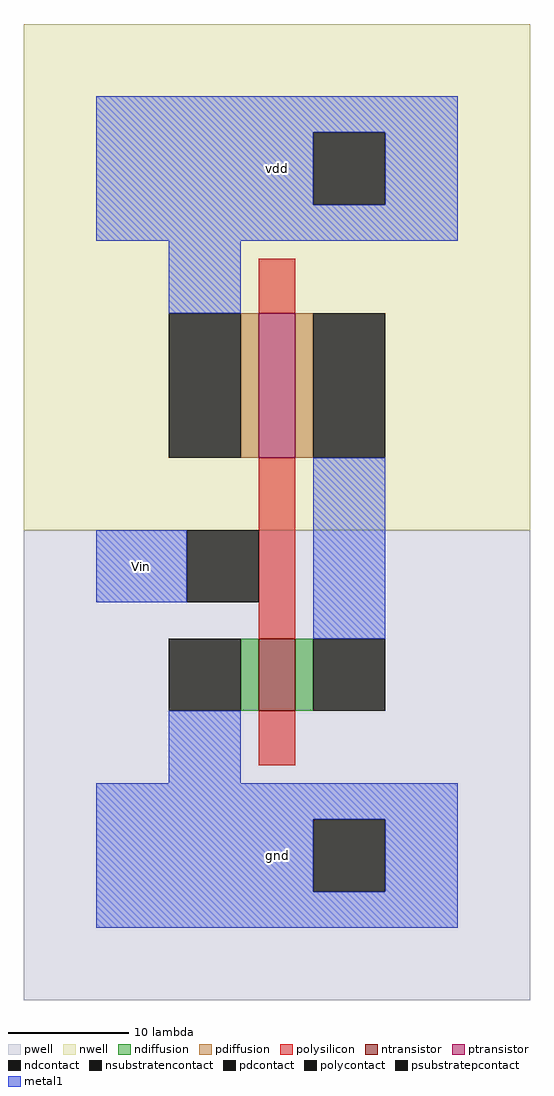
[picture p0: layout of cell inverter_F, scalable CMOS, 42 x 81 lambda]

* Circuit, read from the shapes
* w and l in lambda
.subckt inverter_F Vin gnd vdd
M1 n1 Vin gnd gnd nfet w=6 l=3
M2 n1 Vin vdd vdd pfet w=12 l=3
.ends

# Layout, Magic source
magic
tech scmos
magscale 1 2
<< nwell >>
rect -26 1 58 85
<< pwell >>
rect -26 -77 58 1
<< ntransistor >>
rect 13 -29 19 -17
<< ptransistor >>
rect 13 13 19 37
<< ndiffusion >>
rect 10 -29 13 -17
rect 19 -29 22 -17
<< pdiffusion >>
rect 10 13 13 37
rect 19 13 22 37
<< ndcontact >>
rect -2 -29 10 -17
rect 22 -29 34 -17
<< pdcontact >>
rect -2 13 10 37
rect 22 13 34 37
<< psubstratepcontact >>
rect 22 -59 34 -47
<< nsubstratencontact >>
rect 22 55 34 67
<< polysilicon >>
rect 13 37 19 46
rect 13 -17 19 13
rect 13 -38 19 -29
<< polycontact >>
rect 1 -11 13 1
<< metal1 >>
rect -14 67 46 73
rect -14 55 22 67
rect 34 55 46 67
rect -14 49 46 55
rect -2 37 10 49
rect -14 -11 1 1
rect 22 -17 34 13
rect -2 -41 10 -29
rect -14 -47 46 -41
rect -14 -59 22 -47
rect 34 -59 46 -47
rect -14 -65 46 -59
<< labels >>
rlabel metal1 -14 49 46 73 0 vdd
port 28 nsew power bidirectional
rlabel metal1 -14 -65 46 -41 0 gnd
port 14 nsew ground bidirectional
rlabel metal1 -14 -11 1 1 0 Vin
port 1 nsew signal input
<< end >>
